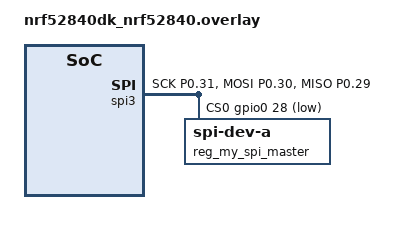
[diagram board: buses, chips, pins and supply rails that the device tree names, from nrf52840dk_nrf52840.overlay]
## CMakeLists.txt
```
# SPDX-License-Identifier: Apache-2.0

cmake_minimum_required(VERSION 3.20.0)

find_package(Zephyr REQUIRED HINTS $ENV{ZEPHYR_BASE})
project(hello_world)

target_sources(app PRIVATE src/main.c
                           src/ism330dhcx_reg.c
                           src/spi_master.c
            )
```

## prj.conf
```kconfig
CONFIG_GPIO=y

CONFIG_SPI=y
CONFIG_SPI_ASYNC=y

#CONFIG_SPI_SLAVE=y
```

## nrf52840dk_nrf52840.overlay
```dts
// To get started, press Ctrl+Space to bring up the completion menu and view the available nodes.

// You can also use the buttons in the sidebar to perform actions on nodes.
// Actions currently available include:

// * Enabling / disabling the node
// * Adding the bus to a bus
// * Removing the node
// * Connecting ADC channels

// For more help, browse the DeviceTree documentation at https://docs.zephyrproject.org/latest/guides/dts/index.html
// You can also visit the nRF DeviceTree extension documentation at https://nrfconnect.github.io/vscode-nrf-connect/devicetree/nrfdevicetree.html
&pinctrl {
	spi_master_default: spi_master_default {
		group1 {
			psels = <NRF_PSEL(SPIM_SCK, 0, 31)>,
					<NRF_PSEL(SPIM_MOSI, 0, 30)>,
					<NRF_PSEL(SPIM_MISO, 0, 29)>;
		};
	};

	spi_master_sleep: spi_master_sleep {
		group1 {
			psels = <NRF_PSEL(SPIM_SCK, 0, 31)>,
					<NRF_PSEL(SPIM_MOSI, 0, 30)>,
					<NRF_PSEL(SPIM_MISO, 0, 29)>;
			low-power-enable;
		};
	};
	
};

my_spi_master: &spi3 {
	compatible = "nordic,nrf-spim";
	status = "okay";
	pinctrl-0 = <&spi_master_default>;
	pinctrl-1 = <&spi_master_sleep>;
	pinctrl-names = "default", "sleep";
	cs-gpios = <&gpio0 28 GPIO_ACTIVE_LOW>;
	reg_my_spi_master: spi-dev-a@0 {
		reg = <0>;
	};
};

&spi1_default {
    group2 {
        psels = <NRF_PSEL(SPIM_SCK, 0, 31)>;
        nordic,drive-mode = <NRF_DRIVE_H0S1>;
    };
};

&spi1_default {
    group1 {
        psels = <NRF_PSEL(SPIM_MOSI, 0, 30)>, <NRF_PSEL(SPIM_MISO, 1, 8)>;
    };
};

&spi1_default {
    group2 {
        psels = <NRF_PSEL(SPIM_SCK, 0, 31)>;
        nordic,drive-mode = <NRF_DRIVE_H0H1>;
    };
};
```

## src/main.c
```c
/*
 * Copyright (c) 2012-2014 Wind River Systems, Inc.
 *
 * SPDX-License-Identifier: Apache-2.0
 */

#include <zephyr/kernel.h>

#include <zephyr/device.h>
#include <zephyr/devicetree.h>
#include <zephyr/drivers/gpio.h>

#include <stdio.h>
#include <stdlib.h>

#include "ism330dhcx_reg.h"

#include "spi_master.h"


/* 1000 msec = 1 sec */
#define SLEEP_TIME_MS   25

/* The devicetree node identifier for the "led0" alias. */
#define LED0_NODE DT_ALIAS(led0)
static const struct gpio_dt_spec led = GPIO_DT_SPEC_GET(LED0_NODE, gpios);


/* Private variables ---------------------------------------------------------*/
static int16_t data_raw_acceleration[3];
static int16_t data_raw_angular_rate[3];
//static int16_t data_raw_temperature;
static float acceleration_mg[3];
static float angular_rate_mdps[3];
//static float temperature_degC;
static uint8_t whoamI, rst;
//static uint8_t tx_buffer[1000];

#define    BOOT_TIME          20 //ms


void main(void)
{
	int ret;
	uint8_t option;
	stmdev_ctx_t dev_ctx;
	uint8_t reg;

	  /* Initialize mems driver interface */
	dev_ctx.write_reg = platform_write;
	dev_ctx.read_reg = platform_read;

	if (!device_is_ready(led.port)) {
		return;
	}

	ret = gpio_pin_configure_dt(&led, GPIO_OUTPUT_ACTIVE);
	if (ret < 0) {
		return;
	}

	SPI_init();
	printk("SPI master test started\n");

	k_msleep(BOOT_TIME);
	

	/* Check device ID */
	ism330dhcx_device_id_get(&dev_ctx, &whoamI);
	printk("ISM whoiam %x\n", whoamI);

	while(1) {
		ism330dhcx_device_id_get(&dev_ctx, &whoamI);
		printk("ISM whoiam %x\n", whoamI);
		k_msleep(25);
	}
	//ESP_LOGI("ISM", "whoiam %x", whoamI);

	/* Restore default configuration */
    ism330dhcx_reset_set(&dev_ctx, PROPERTY_ENABLE);
    do {
        ism330dhcx_reset_get(&dev_ctx, &rst);
        //ESP_LOGI("ISM", "resetting dev %x", rst);
		printk("ISM reseting dev %x\n", rst);
    } while (rst);
	

//option = pause();
	option = 'a';

    /* Start device configuration. */
      ism330dhcx_device_conf_set(&dev_ctx, PROPERTY_ENABLE);
      /* Enable Block Data Update */
      ism330dhcx_block_data_update_set(&dev_ctx, PROPERTY_ENABLE);
      /* Set Output Data Rate */
      ism330dhcx_xl_data_rate_set(&dev_ctx, ISM330DHCX_XL_ODR_104Hz);
      ism330dhcx_gy_data_rate_set(&dev_ctx, ISM330DHCX_GY_ODR_104Hz);
      /* Set full scale */
      ism330dhcx_xl_full_scale_set(&dev_ctx, ISM330DHCX_2g);
      ism330dhcx_gy_full_scale_set(&dev_ctx, ISM330DHCX_2000dps);
      /* Configure filtering chain(No aux interface)
       *
       * Accelerometer - LPF1 + LPF2 path
       */
      ism330dhcx_xl_hp_path_on_out_set(&dev_ctx, ISM330DHCX_LP_ODR_DIV_100);
      ism330dhcx_xl_filter_lp2_set(&dev_ctx, PROPERTY_ENABLE);

      //ism330dhcx_g
      ism330dhcx_gy_lp1_bandwidth_set(&dev_ctx, ISM330DHCX_MEDIUM);
      ism330dhcx_gy_filter_lp1_set(&dev_ctx, PROPERTY_ENABLE);


      /* Read samples in polling mode (no int) */
	while(1) {
		 

		    /* Read output only if new xl value is available */
		 switch (option) {
		 	 	 	 case	'a':
		 	 	 		 	 	 ism330dhcx_xl_flag_data_ready_get(&dev_ctx, &reg);
								 //printk("IMU reg %x\n", reg);
								 //ism330dhcx_device_id_get(&dev_ctx, &whoamI);
								 //printk("ISM whoiam %x\n", whoamI);

		 	 	 		 	 	 if (reg) {
									
		 	 	 		 	 		 // Read acceleration field data
		 	 	 		 	 		 memset(data_raw_acceleration, 0x00, 3 * sizeof(int16_t));
		 	 	 		 	 		 ism330dhcx_acceleration_raw_get(&dev_ctx, data_raw_acceleration);
		 	 	 		 	 		 acceleration_mg[0] = ism330dhcx_from_fs2g_to_mg(data_raw_acceleration[0]);
		 	 	 		 	 		 acceleration_mg[1] = ism330dhcx_from_fs2g_to_mg(data_raw_acceleration[1]);
		 	 	 		 	 		 acceleration_mg[2] = ism330dhcx_from_fs2g_to_mg(data_raw_acceleration[2]);
		 	 	 		 	 		 //sprintf((char *)tx_buffer,"Acceleration [mg]:%4.2f\t%4.2f\t%4.2f\r\n", acceleration_mg[0], acceleration_mg[1], acceleration_mg[2]);
		 	 	 		 	 		 //printf("Accel [mg]:%4.2f\t%4.2f\t%4.2f\r\n", acceleration_mg[0], acceleration_mg[1], acceleration_mg[2]);
		 	 	 		 	 		 printf("Accel z [mg]:%4.2f\n", (acceleration_mg[2]+119));

		 	 	 		 	 	 }
		 	 	 		 	 	 break;
		 	 	 	 case 'g':
		 	 	 		 	 	 ism330dhcx_gy_flag_data_ready_get(&dev_ctx, &reg);

		 	 	 				 if (reg) {
		 	 	 				      // Read angular rate field data
		 	 	 				      memset(data_raw_angular_rate, 0x00, 3 * sizeof(int16_t));
		 	 	 				      ism330dhcx_angular_rate_raw_get(&dev_ctx, data_raw_angular_rate);
		 	 	 				      angular_rate_mdps[0] = ism330dhcx_from_fs2000dps_to_mdps(data_raw_angular_rate[0]);
		 	 	 				      angular_rate_mdps[1] = ism330dhcx_from_fs2000dps_to_mdps(data_raw_angular_rate[1]);
		 	 	 				      angular_rate_mdps[2] = ism330dhcx_from_fs2000dps_to_mdps(data_raw_angular_rate[2]);
		 	 	 				      printf("Angrate [mdps]:%4.2f\t%4.2f\t%4.2f\r\n", angular_rate_mdps[0], angular_rate_mdps[1], angular_rate_mdps[2]);

		 	 	 				 }
		 	 	 				 break;


		 	 	 	 default: 	break;
		 }

		 gpio_pin_toggle_dt(&led);
		 k_msleep(SLEEP_TIME_MS);

	}

	
}
```

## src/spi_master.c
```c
#include "spi_master.h"

const struct device *spi_dev;
static struct k_poll_signal spi_done_sig = K_POLL_SIGNAL_INITIALIZER(spi_done_sig);

struct spi_cs_control spim_cs = {
	.gpio = SPI_CS_GPIOS_DT_SPEC_GET(DT_NODELABEL(reg_my_spi_master)),
	.delay = 0,
};

static const struct spi_config spi_cfg = {
	//.operation = SPI_WORD_SET(8) | SPI_TRANSFER_MSB |
	//			 SPI_MODE_CPOL | SPI_MODE_CPHA,
	.operation = SPI_WORD_SET(8) | SPI_TRANSFER_MSB,
//				 SPI_MODE_CPOL | SPI_MODE_CPHA,
	.frequency = 2000000,
	.slave = 0,
	.cs = &spim_cs,
};

void SPI_init(void)
{
	spi_dev = DEVICE_DT_GET(MY_SPI_MASTER);
	if(!device_is_ready(spi_dev)) {
		printk("SPI master device not ready!\n");
	}
	if(!device_is_ready(spim_cs.gpio.port)){
		printk("SPI master chip select device not ready!\n");
	}
}


/*
 * SPI_write_reg()
 * Write a byte to a slave device.
 * add = 8 bit address
 * reg = 8 bit register
 * value = 8 bit value
 */
void SPI_write_reg(uint8_t add, uint8_t reg, uint8_t value)
{    
    static uint8_t tx_buffer[3];
	static uint8_t rx_buffer[3];

    tx_buffer[0] = add;
    tx_buffer[1] = reg;
    tx_buffer[2] = value;

	const struct spi_buf tx_buf = {
		.buf = tx_buffer,
		.len = sizeof(tx_buffer)
	};
	const struct spi_buf_set tx = {
		.buffers = &tx_buf,
		.count = 1
	};

	struct spi_buf rx_buf = {
		.buf = rx_buffer,
		.len = sizeof(rx_buffer),
	};
	const struct spi_buf_set rx = {
		.buffers = &rx_buf,
		.count = 1
	};

    // Reset signal
	k_poll_signal_reset(&spi_done_sig);

    //Start SPI transaction
    int error = spi_transceive_async(spi_dev, &spi_cfg, &tx, &rx, &spi_done_sig);
	if(error != 0){
		printk("SPI transceive error: %i\n", error);
		return error;
	}

    // Wait for the done signal to be raised
    int spi_signaled, spi_result;
	do{
		k_poll_signal_check(&spi_done_sig, &spi_signaled, &spi_result);
	} while(spi_signaled == 0);
     
}

/*
 * SPI_read_reg()
 * Reads a byte from a SPI slave
 * add = address + read bit (user must set read bit before)
 * reg = register
 * value = pointer to 8-bit variable to store value.
 */
void SPI_read_reg(uint8_t add, uint8_t reg, uint8_t *value)
{

	static uint8_t tx_buffer[3];
	static uint8_t rx_buffer[3];

    tx_buffer[0] = add;
    tx_buffer[1] = reg;
    tx_buffer[2] = 0x00;

	const struct spi_buf tx_buf = {
		.buf = tx_buffer,
		.len = sizeof(tx_buffer)
	};
	const struct spi_buf_set tx = {
		.buffers = &tx_buf,
		.count = 1
	};

	struct spi_buf rx_buf = {
		.buf = rx_buffer,
		.len = sizeof(rx_buffer),
	};
	const struct spi_buf_set rx = {
		.buffers = &rx_buf,
		.count = 1
	};

    // Reset signal
	k_poll_signal_reset(&spi_done_sig);

    //Start SPI transaction
    int error = spi_transceive_async(spi_dev, &spi_cfg, &tx, &rx, &spi_done_sig);
	if(error != 0){
		printk("SPI transceive error: %i\n", error);
		return error;
	}

    // Wait for the done signal to be raised
    int spi_signaled, spi_result;
	do{
		k_poll_signal_check(&spi_done_sig, &spi_signaled, &spi_result);
	} while(spi_signaled == 0);

	*value = rx_buffer[2];
	//printk("SPI RX: %x %x %x\n", rx_buffer[0], rx_buffer[1], rx_buffer[2]);

}

void SPI_transaction(uint8_t* pData, uint16_t Size)
{   
	static uint8_t tx_buffer[20];
	static uint8_t rx_buffer[20];
	uint16_t i;

	for (i = 0; i < Size; i++) {
		tx_buffer[i] = pData[i];
	}

	const struct spi_buf tx_buf = {
		.buf = tx_buffer,
		.len = sizeof(Size)
	};
	const struct spi_buf_set tx = {
		.buffers = &tx_buf,
		.count = 1
	};

	struct spi_buf rx_buf = {
		.buf = rx_buffer,
		.len = sizeof(Size),
	};
	const struct spi_buf_set rx = {
		.buffers = &rx_buf,
		.count = 1
	};
    // Reset signal
	k_poll_signal_reset(&spi_done_sig);

    //Start SPI transaction
    int error = spi_transceive_async(spi_dev, &spi_cfg, &tx, &rx, &spi_done_sig);
	if(error != 0){
		printk("SPI transceive error: %i\n", error);
		return error;
	}

    // Wait for the done signal to be raised
    int spi_signaled, spi_result;
	do{
		k_poll_signal_check(&spi_done_sig, &spi_signaled, &spi_result);
	} while(spi_signaled == 0);

	//*value = buffer[2];
	printk("SPI RX: %x %x %x\n", rx_buffer[0], rx_buffer[1], rx_buffer[2]);

}

/*
void SPI_receive(uint8_t* pData, uint16_t Size)
{

}

void SPI_transmit(uint8_t* pData, uint16_t Size)
{

}
*/


//write function for ST devices
int32_t platform_write(void *handle, uint8_t reg, const uint8_t *bufp, uint16_t len)
{
	//TODO: create a buffer data, with data[0] = reg, and data[1] = bufp[0], ...
	// Send len+1 bytes by using SPI_transaction
	uint8_t buffer[16];
	uint8_t i,aux;

	buffer[0] = reg;

	aux = 1;
	for (i = 0; i < len; i++) {
		buffer[aux] = bufp[i];
		aux++;
	}

	SPI_transaction(buffer, aux);

	return 0;
}


//read function for ST devices
int32_t platform_read(void *handle, uint8_t reg, uint8_t *bufp, uint16_t len)
{
	//TODO: create a buffer data, with data[0] = reg | 0x80, and data[1] = bufp[0], ...
		// Send len+1 bytes by using SPI_transaction

	uint8_t buffer[16];
	uint8_t i,aux;

	buffer[0] = reg | 0x80; //set write bit for ST devices!

	aux = 1;
	for (i = 0; i < len; i++) {
		buffer[aux] = 0x00;
		aux++;
	}

	SPI_transaction(buffer, aux);

	aux = 1;
	for (i = 0; i < len; i++) {
			//buffer[aux] = 0x00;
			bufp[i] = buffer[aux];
			aux++;
	}

	return 0;
}

/*
 * @brief  Write generic device register (platform dependent)
 *
 * @param  handle    customizable argument. In this examples is used in
 *                   order to select the correct sensor bus handler.
 * @param  reg       register to write
 * @param  bufp      pointer to data to write in register reg
 * @param  len       number of consecutive register to write
 *

static int32_t platform_write(void *handle, uint8_t reg, const uint8_t *bufp,
                              uint16_t len)
{
#if defined(NUCLEO_F411RE)
  HAL_I2C_Mem_Write(handle, ISM330DHCX_I2C_ADD_H, reg,
                    I2C_MEMADD_SIZE_8BIT, (uint8_t*) bufp, len, 1000);
#elif defined(STEVAL_MKI109V3)
  HAL_GPIO_WritePin(CS_up_GPIO_Port, CS_up_Pin, GPIO_PIN_RESET);
  HAL_SPI_Transmit(handle, &reg, 1, 1000);
  HAL_SPI_Transmit(handle, (uint8_t*) bufp, len, 1000);
  HAL_GPIO_WritePin(CS_up_GPIO_Port, CS_up_Pin, GPIO_PIN_SET);
#elif defined(SPC584B_DIS)
  i2c_lld_write(handle,  ISM330DHCX_I2C_ADD_H & 0xFE, reg,
               (uint8_t*) bufp, len);
#endif
  return 0;
}
*/

/*
 * @brief  Read generic device register (platform dependent)
 *
 * @param  handle    customizable argument. In this examples is used in
 *                   order to select the correct sensor bus handler.
 * @param  reg       register to read
 * @param  bufp      pointer to buffer that store the data read
 * @param  len       number of consecutive register to read
 *

static int32_t platform_read(void *handle, uint8_t reg, uint8_t *bufp,
                             uint16_t len)
{
#if defined(NUCLEO_F411RE)
  HAL_I2C_Mem_Read(handle, ISM330DHCX_I2C_ADD_H, reg,
                   I2C_MEMADD_SIZE_8BIT, bufp, len, 1000);
#elif defined(STEVAL_MKI109V3)
  reg |= 0x80;
  HAL_GPIO_WritePin(CS_up_GPIO_Port, CS_up_Pin, GPIO_PIN_RESET);
  HAL_SPI_Transmit(handle, &reg, 1, 1000);
  HAL_SPI_Receive(handle, bufp, len, 1000);
  HAL_GPIO_WritePin(CS_up_GPIO_Port, CS_up_Pin, GPIO_PIN_SET);
#elif defined(SPC584B_DIS)
  i2c_lld_read(handle, ISM330DHCX_I2C_ADD_H & 0xFE, reg, bufp, len);
#endif
  return 0;
}

*/
```
